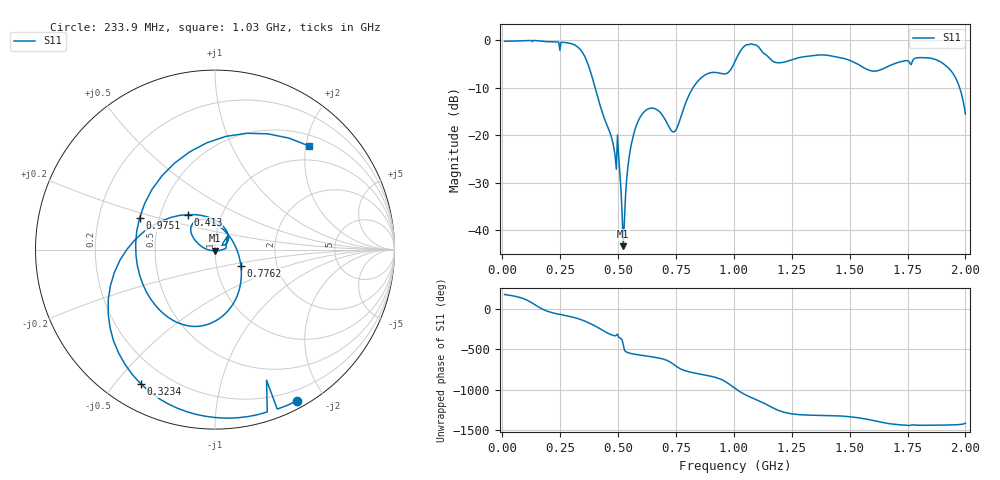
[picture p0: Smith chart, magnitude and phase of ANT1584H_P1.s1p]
!Created with skrf (http://scikit-rf.org).
# Hz S RI R 50.0
!freq ReS11 ImS11
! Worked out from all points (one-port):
!   401 points, 10 MHz to 2 GHz, reference 50 ohm
!   lowest |S11| = -43.3 dB at 522.4 MHz (marker M1), VSWR 1.01, Z = 50.1 - j0.677 ohm
!   |S11| at or under -10 dB: 401 MHz to 823.7 MHz (422.8 MHz wide, 69 % of centre); 1.975 GHz to end of sweep
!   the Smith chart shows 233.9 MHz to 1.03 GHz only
!   S11 on the Smith chart (normalised r, x): 233.9 MHz: 0.08, -1.67; 323.4 MHz: 0.10, -0.59; 413 MHz: 0.69, +0.29; 776.1 MHz: 1.31, -0.24; 975.1 MHz: 0.39, +0.17; 1.03 GHz: 0.70, +2.06
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1e7  -0.9723 0.0663
7.965e7  -0.715 0.6752
1.24425e8  0.1816 0.9763
1.493e8  0.806 0.5704
1.692e8  0.9755 0.0386
2.33875e8  0.4555 -0.8427
2.5875e8  0.2358 -0.9202
3.23425e8  -0.4106 -0.7509
3.63225e8  -0.5825 -0.2012
4.12975e8  -0.1515 0.1951
5.075e8  0.0415 -0.000771
5.22425e8  0.000859 -0.00676
5.5725e8  -0.0779 0.0194
5.9705e8  -0.1308 0.0871
7.5625e8  0.1224 -0.00229
7.7615e8  0.144 -0.0893
8.9555e8  -0.1608 -0.4224
9.7515e8  -0.4198 0.1774
1.005e9  -0.0458 0.595
1.029875e9  0.5239 0.5774
1.069675e9  0.8919 -0.1634
1.119425e9  0.1966 -0.7491
1.17415e9  -0.529 -0.2611
1.25375e9  -0.4722 0.4104
1.5025e9  -0.1457 0.5917
1.75125e9  0.6074 -0.0237
1.915425e9  0.5393 0.0135
2e9  0.1533 0.0668
